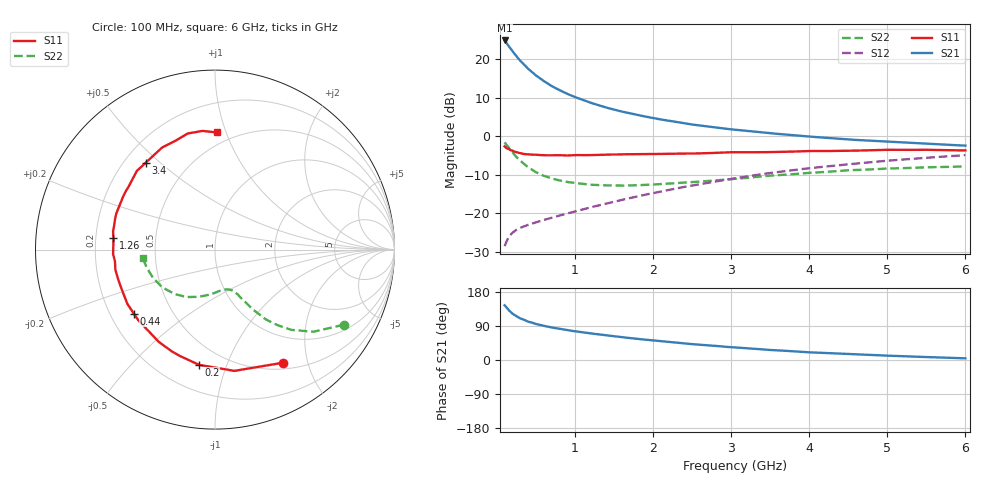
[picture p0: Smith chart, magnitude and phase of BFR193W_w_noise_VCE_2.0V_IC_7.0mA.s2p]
! Infineon Technologies  Discrete & RF Semiconductors
! BFR193W
! VCE =  2.0 V,  IC =  7.0 mA
! Common Emitter S-Parameters:  Nov 2015
# GHz  S  MA  R  50
!  f  S11  S21  S12  S22
! GHz  MAG  ANG  MAG  ANG  MAG  ANG  MAG  ANG
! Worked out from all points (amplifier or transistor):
!   192 points, 100 MHz to 6 GHz, reference 50 ohm
!   highest |S21| = 24.8 dB at 100 MHz (marker M1)
!   |S21| within 3 dB of that: start of sweep to 209.7 MHz
!   unconditionally stable (mu >= 1): 1.1 GHz to 2.591 GHz
!   at 440 MHz: K = 0.62, MSG = 19.8 dB, |S12| = -22.7 dB
!   at 1.7 GHz: K = 1.05, MAG = 9.6 dB, |S12| = -16.1 dB
!   at 6 GHz: K = 0.92, MSG = 1.2 dB, |S12| = -4.9 dB
!   lowest NFmin = 1.20 dB at 450 MHz
!   S11 on the Smith chart (normalised r, x): 100 MHz: 0.59, -1.62; 200 MHz: 0.36, -0.80; 440 MHz: 0.30, -0.32; 1.26 GHz: 0.28, +0.05; 3.4 GHz: 0.29, +0.45; 6 GHz: 0.41, +0.93
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0.1  0.7365 -58.8  17.35 144.4  0.0375 62.7  0.8315 -30.2
0.15  0.6843 -80.9  14.79 131.8  0.0489 54.7  0.7149 -39.8
0.2  0.6482 -97.9  12.64 122.3  0.0559 49.4  0.6179 -46.4
0.24  0.6237 -108.5  11.21 116.9  0.06 47.1  0.5532 -50.0
0.26  0.6156 -113.2  10.59 114.3  0.0618 46.3  0.5257 -51.5
0.3  0.6017 -121.5  9.481 109.8  0.0648 45.0  0.4795 -54.0
0.4  0.581 -137.4  7.455 101.3  0.0708 44.2  0.3943 -57.7
0.44  0.5759 -141.7  6.912 99.1  0.0729 44.5  0.373 -58.5
0.52  0.5716 -149.8  5.929 94.3  0.0773 45.3  0.3341 -60.1
0.6  0.5654 -156.5  5.181 90.2  0.082 46.5  0.306 -61.7
0.7  0.5643 -163.0  4.469 85.9  0.0872 48.2  0.2829 -62.9
0.9  0.5611 -173.3  3.532 78.8  0.0994 51.6  0.2543 -65.5
1.1  0.5666 179.0  2.952 73.1  0.1124 54.6  0.2406 -68.9
1.26  0.5695 173.7  2.594 68.7  0.1235 56.5  0.2331 -71.9
1.6  0.581 164.3  2.081 60.2  0.149 59.5  0.2284 -78.5
2.08  0.5874 153.1  1.658 50.0  0.1897 61.4  0.2385 -88.8
2.5  0.5945 144.7  1.413 41.9  0.2288 61.3  0.2536 -97.5
3.1  0.6174 133.2  1.196 32.4  0.2894 58.9  0.2822 -111.2
3.4  0.6192 128.4  1.115 28.1  0.3218 57.1  0.3006 -118.5
4.1  0.6406 115.9  0.969 19.5  0.393 51.6  0.3382 -134.7
5.1  0.6637 101.8  0.837 10.8  0.4887 42.5  0.3819 -157.8
6  0.6526 89.0  0.753 4.4  0.567 33.5  0.4049 -173.6
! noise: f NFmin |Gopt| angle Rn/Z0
0.45  1.2  0.24  125  0.12
0.9  1.25  0.36  154  0.11
1.8  2  0.55  -156  0.13
